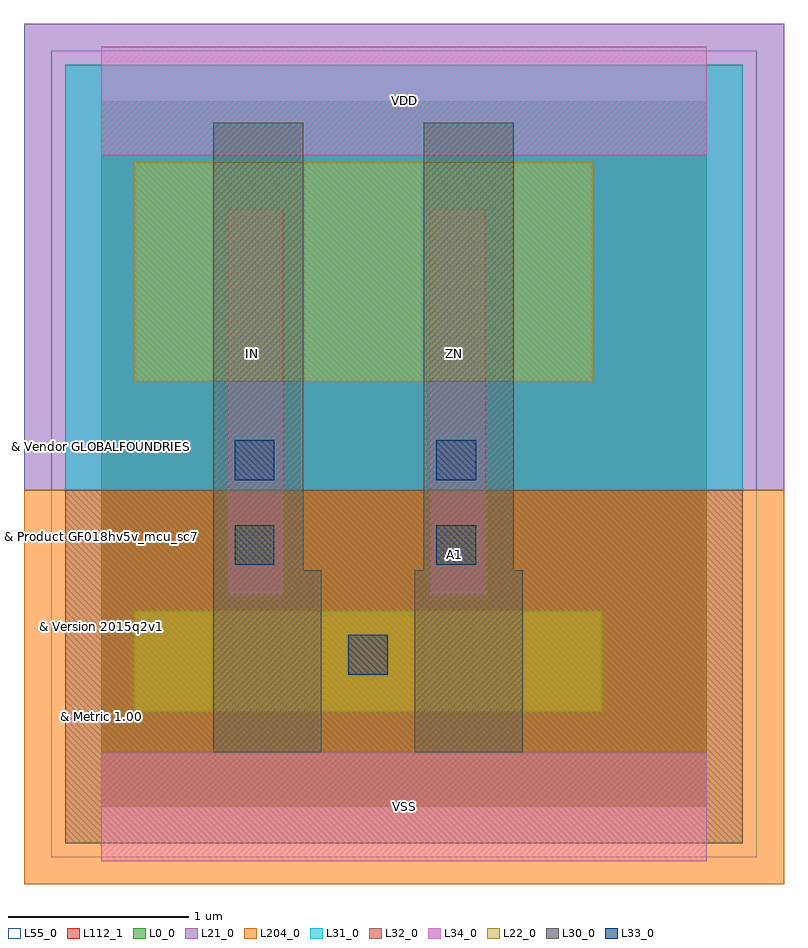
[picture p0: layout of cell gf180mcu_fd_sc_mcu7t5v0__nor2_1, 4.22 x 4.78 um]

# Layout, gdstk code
import gdstk
lib = gdstk.Library(unit=1e-6, precision=1e-09)
def R(c, l, rs):  # rectangles x0, y0, x1, y1
    for r in rs: c.add(gdstk.rectangle(r[:2], r[2:], *l))
def P(c, l, *ps):  # polygons
    for p in ps: c.add(gdstk.Polygon(p, *l))
L0_0 = (0, 0)
L21_0 = (21, 0)
L22_0 = (22, 0)
L30_0 = (30, 0)
L31_0 = (31, 0)
L32_0 = (32, 0)
L33_0 = (33, 0)
L34_0 = (34, 0)
L55_0 = (55, 0)
L112_1 = (112, 1)
L204_0 = (204, 0)

gf180mcu_fd_sc_mcu7t5v0_ = lib.new_cell('gf180mcu_fd_sc_mcu7t5v0__nor2_1')
R(gf180mcu_fd_sc_mcu7t5v0_, L0_0, [(0,0,3.36,3.92)])
R(gf180mcu_fd_sc_mcu7t5v0_, L21_0, [(-0.43,1.76,3.79,4.35)])
R(gf180mcu_fd_sc_mcu7t5v0_, L22_0, [(0.18,0.525,2.78,1.09), (0.18,2.36,2.73,3.58)])
P(gf180mcu_fd_sc_mcu7t5v0_, L30_0, [(0.62,0.305),(0.62,3.8),(1.12,3.8),(1.12,1.315),(1.22,1.315),(1.22,0.305)],
  [(1.74,0.305),(1.74,1.315),(1.79,1.315),(1.79,3.8),(2.29,3.8),(2.29,1.315),(2.34,1.315),(2.34,0.305)])
R(gf180mcu_fd_sc_mcu7t5v0_, L31_0, [(-0.2,1.76,3.56,4.12)])
R(gf180mcu_fd_sc_mcu7t5v0_, L32_0, [(-0.2,-0.2,3.56,1.76)])
R(gf180mcu_fd_sc_mcu7t5v0_, L33_0, [(1.37,0.735,1.59,0.955), (0.74,1.345,0.96,1.565), (1.86,1.345,2.08,1.565), (0.74,1.815,0.96,2.035), (1.86,1.815,2.08,2.035)])
R(gf180mcu_fd_sc_mcu7t5v0_, L34_0, [(0.705,1.18,1.01,3.32)])
P(gf180mcu_fd_sc_mcu7t5v0_, L34_0, [(0,3.62),(0,4.22),(3.36,4.22),(3.36,3.62),(0.475,3.62),(0.245,3.62)],
  [(1.825,1.18),(1.825,3.32),(2.13,3.32),(2.13,1.79),(2.13,1.18)],
  [(0,-0.3),(0,0.3),(0.245,0.3),(0.475,0.3),(2.485,0.3),(2.715,0.3),(3.36,0.3),(3.36,-0.3)])
R(gf180mcu_fd_sc_mcu7t5v0_, L55_0, [(-0.28,-0.28,3.64,4.2)])
R(gf180mcu_fd_sc_mcu7t5v0_, L112_1, [(0,0,3.36,3.92)])
R(gf180mcu_fd_sc_mcu7t5v0_, L204_0, [(-0.43,-0.43,3.79,1.76)])
gf180mcu_fd_sc_mcu7t5v0_.add(gdstk.Label('IN', (0.84,2.52), layer=34, texttype=10))
gf180mcu_fd_sc_mcu7t5v0_.add(gdstk.Label('VDD', (1.68,3.925), layer=34, texttype=10))
gf180mcu_fd_sc_mcu7t5v0_.add(gdstk.Label('VSS', (1.68,0), layer=34, texttype=10))
gf180mcu_fd_sc_mcu7t5v0_.add(gdstk.Label('ZN', (1.96,2.52), layer=34, texttype=10))
gf180mcu_fd_sc_mcu7t5v0_.add(gdstk.Label('A1', (1.96,1.4), layer=34, texttype=10))
gf180mcu_fd_sc_mcu7t5v0_.add(gdstk.Label('& Vendor GLOBALFOUNDRIES', (0,2), layer=63, texttype=63))
gf180mcu_fd_sc_mcu7t5v0_.add(gdstk.Label('& Product GF018hv5v_mcu_sc7', (0,1.5), layer=63, texttype=63))
gf180mcu_fd_sc_mcu7t5v0_.add(gdstk.Label('& Version 2015q2v1', (0,1), layer=63, texttype=63))
gf180mcu_fd_sc_mcu7t5v0_.add(gdstk.Label('& Metric 1.00', (0,0.5), layer=63, texttype=63))

lib.write_gds('gf180mcu_fd_sc_mcu7t5v0__nor2_1.gds')
